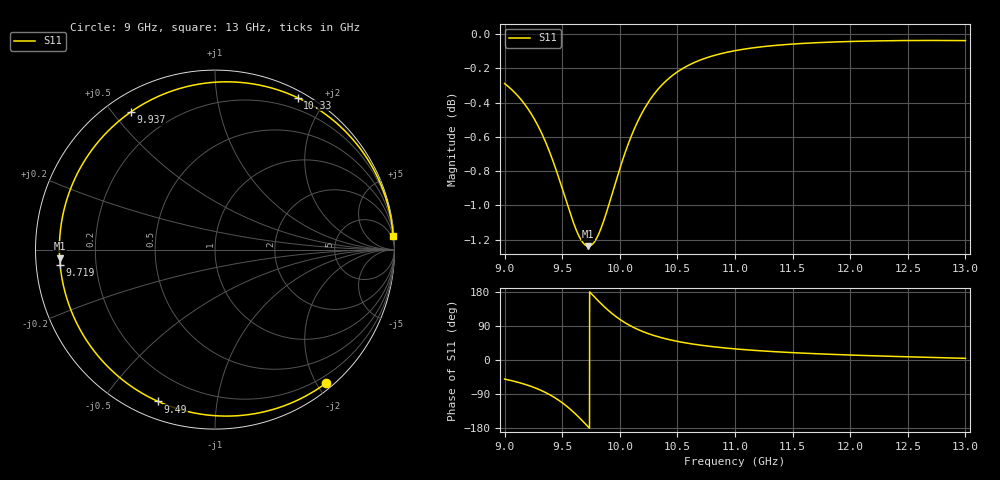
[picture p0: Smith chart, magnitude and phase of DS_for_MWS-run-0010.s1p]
! TOUCHSTONE file generated by CST DESIGN STUDIO
! Date and time: Tue Feb  4 17:17:04 2025
! Project name: C:\Work\MatlabApps\UnitCellOptimizationMatlab\CST\unitcell.cst
! Tree item: Tasks\Sweep1\SPara1\S-Parameters
! Header version: 2024
! Port assignment regex: !\s*Touchstone port\s*([0-9]+)\s*=\s*(CST MWS port|CST DES external port|CST DES block port)\s*(.+)\s* \(\"(.*)\"\)(\s*mode\s*([0-9]+))?.*
! Touchstone port assignment:
! Touchstone port 1 = CST DES external port 1 ("")
# GHz S MA R 50
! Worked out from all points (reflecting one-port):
!   4001 points, 9 GHz to 13 GHz, reference 50 ohm
!   lowest |S11| = -1.2 dB at 9.727 GHz (marker M1), VSWR 14.05, Z = 3.56 - j1.39 ohm
!   phase of S11 starts at -50 deg and turns -305 deg over the sweep
!   S11 on the Smith chart (normalised r, x): 9 GHz: 0.09, -2.12; 9.49 GHz: 0.07, -0.69; 9.719 GHz: 0.07, -0.05; 9.937 GHz: 0.07, +0.56; 10.33 GHz: 0.07, +1.68; 13 GHz: 1, +26
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9  0.9673 -50.4
9.135  0.9576 -60.4
9.26  0.9442 -73.0
9.39  0.9239 -91.4
9.442  0.9138 -100.7
9.49  0.9036 -110.6
9.5  0.9014 -112.8
9.553  0.8899 -125.4
9.604  0.8797 -139.1
9.665  0.8706 -157.2
9.719  0.8672 -174.2
9.727  0.8671 -176.8
9.772  0.869 168.8
9.819  0.8746 154.2
9.879  0.8859 136.7
9.937  0.899 121.6
10  0.9135 107.3
10.074  0.9289 93.3
10.162  0.9439 79.9
10.244  0.9548 69.9
10.331  0.9635 61.5
10.5  0.9749 49.2
10.718  0.9832 38.5
11  0.9889 29.3
11.5  0.9933 19.4
12  0.995 13.1
12.5  0.9957 8.4
13  0.9956 4.4
